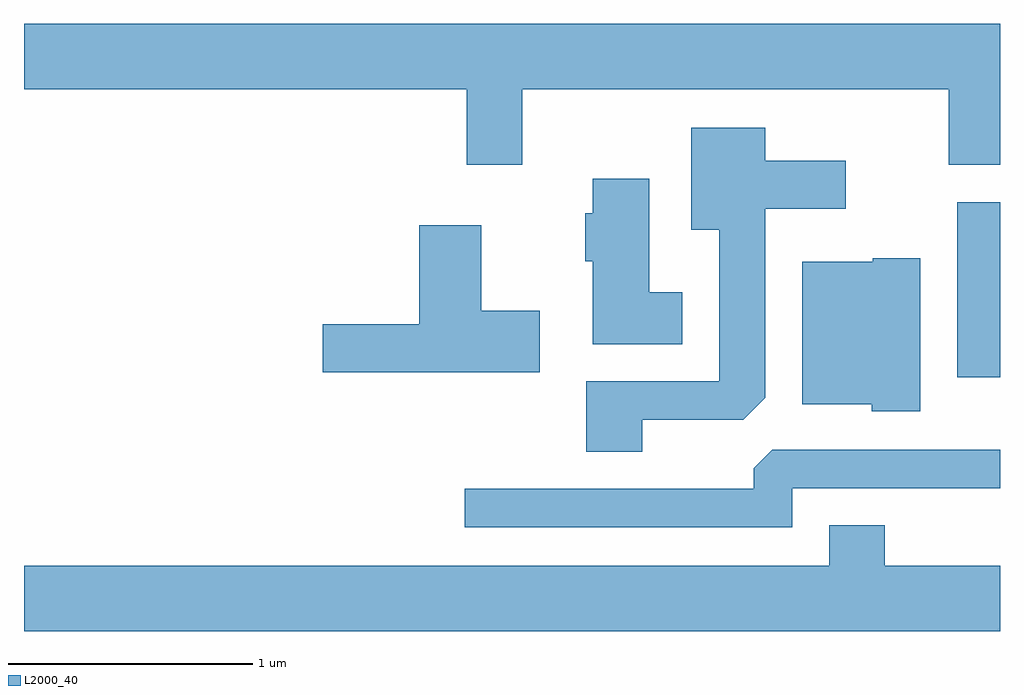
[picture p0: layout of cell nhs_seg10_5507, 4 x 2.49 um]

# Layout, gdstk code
import gdstk
lib = gdstk.Library(unit=1e-6, precision=1e-09)
def R(c, l, rs):  # rectangles x0, y0, x1, y1
    for r in rs: c.add(gdstk.rectangle(r[:2], r[2:], *l))
def P(c, l, *ps):  # polygons
    for p in ps: c.add(gdstk.Polygon(p, *l))
L2000_40 = (2000, 40)

nhs_seg10_5507 = lib.new_cell('nhs_seg10_5507')
R(nhs_seg10_5507, L2000_40, [(351.436,2126.056,351.611,2126.774)])
P(nhs_seg10_5507, L2000_40, [(349.654,2127.236),(351.401,2127.236),(351.401,2126.926),(351.611,2126.926),(351.611,2127.504),(347.611,2127.504),(347.611,2127.236),(349.426,2127.236),(349.426,2126.926),(349.654,2126.926)],
  [(350.144,2125.881),(350.559,2125.881),(350.649,2125.972),(350.649,2126.746),(350.979,2126.746),(350.979,2126.944),(350.649,2126.944),(350.649,2127.079),(350.346,2127.079),(350.346,2126.661),(350.461,2126.661),(350.461,2126.039),(349.916,2126.039),(349.916,2125.751),(350.144,2125.751)],
  [(350.309,2126.404),(350.174,2126.404),(350.174,2126.869),(349.941,2126.869),(349.941,2126.729),(349.911,2126.729),(349.911,2126.531),(349.941,2126.531),(349.941,2126.191),(350.309,2126.191)],
  [(349.724,2126.329),(349.484,2126.329),(349.484,2126.679),(349.231,2126.679),(349.231,2126.274),(348.836,2126.274),(348.836,2126.076),(349.724,2126.076)],
  [(351.284,2126.544),(351.09,2126.544),(351.09,2126.529),(350.801,2126.529),(350.801,2125.946),(351.086,2125.946),(351.086,2125.916),(351.284,2125.916)],
  [(350.759,2125.601),(351.611,2125.601),(351.611,2125.759),(350.677,2125.759),(350.601,2125.684),(350.601,2125.599),(349.418,2125.599),(349.418,2125.441),(350.759,2125.441)],
  [(351.611,2125.284),(351.139,2125.284),(351.139,2125.449),(350.911,2125.449),(350.911,2125.284),(347.611,2125.284),(347.611,2125.016),(351.611,2125.016)])

lib.write_gds('nhs_seg10_5507.gds')
